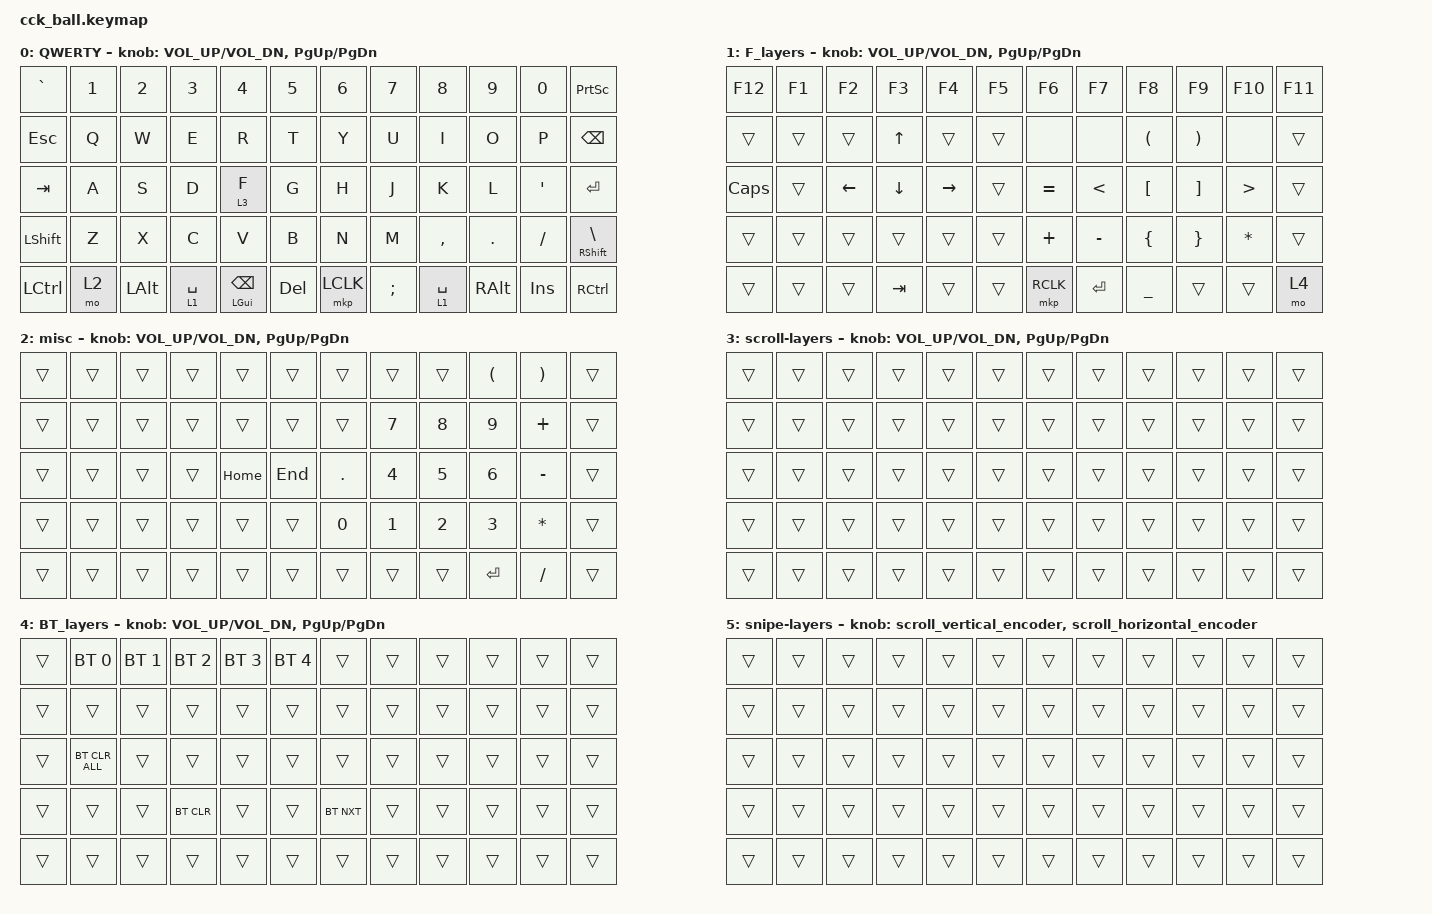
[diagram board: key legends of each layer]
#define ZMK_POINTING_DEFAULT_MOVE_VAL 1000 // 600
#define ZMK_POINTING_DEFAULT_SCRL_VAL 12   // 10

#include <input/processors.dtsi>
#include <zephyr/dt-bindings/input/input-event-codes.h>
#include <behaviors.dtsi>
#include <dt-bindings/zmk/bt.h>
#include <dt-bindings/zmk/keys.h>
#include <dt-bindings/zmk/pointing.h>

&mmv_input_listener { input-processors = <&zip_xy_scaler 2 1>; };

&msc_input_listener { input-processors = <&zip_scroll_scaler 2 1>; };

&msc {
    acceleration-exponent = <0>;      // 0
    time-to-max-speed-ms = <300>;       // 300
    delay-ms = <0>;                   // 0
};

&mmv {
    time-to-max-speed-ms = <500>;
    acceleration-exponent = <1>;
    trigger-period-ms = <16>;
};

&soft_off { hold-time-ms = <2000>; };

&lt { quick-tap-ms = <250>; };

&mt { quick-tap-ms = <250>; };

/ {
    // 上下滚动编码器行为

    scroll_vertical_encoder: scroll_vertical_encoder {
        compatible = "zmk,behavior-sensor-rotate";
        #sensor-binding-cells = <0>;
        bindings = <&msc SCRL_DOWN>, <&msc SCRL_UP>;

        tap-ms = <100>;
    };

    // 左右滚动编码器行为

    scroll_horizontal_encoder: scroll_horizontal_encoder {
        compatible = "zmk,behavior-sensor-rotate";
        #sensor-binding-cells = <0>;
        bindings = <&msc SCRL_LEFT>, <&msc SCRL_RIGHT>;

        tap-ms = <100>;
    };

    behaviors {
    };

    keymap {
        compatible = "zmk,keymap";

        QWERTY {
            bindings = <
&kp GRAVE         &kp N1  &kp N2    &kp N3       &kp N4                  &kp N5      &kp N6     &kp N7    &kp N8       &kp N9    &kp N0     &kp PRINTSCREEN
&kp ESCAPE        &kp Q   &kp W     &kp E        &kp R                   &kp T       &kp Y      &kp U     &kp I        &kp O     &kp P      &kp BACKSPACE
&kp TAB           &kp A   &kp S     &kp D        &lt 3 F                 &kp G       &kp H      &kp J     &kp K        &kp L     &kp APOS   &kp ENTER
&kp LEFT_SHIFT    &kp Z   &kp X     &kp C        &kp V                   &kp B       &kp N      &kp M     &kp COMMA    &kp DOT   &kp SLASH  &mt RIGHT_SHIFT BACKSLASH
&kp LEFT_CONTROL  &mo 2   &kp LALT  &lt 1 SPACE  &mt LEFT_GUI BACKSPACE  &kp DELETE  &mkp LCLK  &kp SEMI  &lt 1 SPACE  &kp RALT  &kp INS    &kp RCTRL
            >;

            sensor-bindings = <&inc_dec_kp C_VOL_UP C_VOL_DN &inc_dec_kp PG_UP PG_DN>;
        };

        F_layers {
            bindings = <
&kp F12   &kp F1  &kp F2          &kp F3        &kp F4     &kp F5  &kp F6     &kp F7         &kp F8                &kp F9                 &kp F10           &kp F11
&trans    &trans  &trans          &kp UP_ARROW  &trans     &trans  &none      &none          &kp LEFT_PARENTHESIS  &kp RIGHT_PARENTHESIS  &none             &trans
&kp CAPS  &trans  &kp LEFT_ARROW  &kp DOWN      &kp RIGHT  &trans  &kp EQUAL  &kp LESS_THAN  &kp LEFT_BRACKET      &kp RIGHT_BRACKET      &kp GREATER_THAN  &trans
&trans    &trans  &trans          &trans        &trans     &trans  &kp PLUS   &kp MINUS      &kp LEFT_BRACE        &kp RIGHT_BRACE        &kp ASTERISK      &trans
&trans    &trans  &trans          &kp TAB       &trans     &trans  &mkp RCLK  &kp ENTER      &kp UNDER             &trans                 &trans            &mo 4
            >;

            sensor-bindings = <&inc_dec_kp C_VOL_UP C_VOL_DN &inc_dec_kp PG_UP PG_DN>;
        };

        misc {
            bindings = <
&trans  &trans  &trans  &trans  &trans    &trans   &trans   &trans  &trans  &kp LPAR   &kp RPAR      &trans
&trans  &trans  &trans  &trans  &trans    &trans   &trans   &kp N7  &kp N8  &kp N9     &kp PLUS      &trans
&trans  &trans  &trans  &trans  &kp HOME  &kp END  &kp DOT  &kp N4  &kp N5  &kp N6     &kp MINUS     &trans
&trans  &trans  &trans  &trans  &trans    &trans   &kp N0   &kp N1  &kp N2  &kp N3     &kp ASTERISK  &trans
&trans  &trans  &trans  &trans  &trans    &trans   &trans   &trans  &trans  &kp ENTER  &kp SLASH     &trans
            >;

            sensor-bindings =
                <&inc_dec_kp C_VOL_UP C_VOL_DN>,
                <&inc_dec_kp PAGE_UP PAGE_DOWN>;
        };

        scroll-layers {
            bindings = <
&trans  &trans  &trans  &trans  &trans  &trans  &trans  &trans  &trans  &trans  &trans  &trans
&trans  &trans  &trans  &trans  &trans  &trans  &trans  &trans  &trans  &trans  &trans  &trans
&trans  &trans  &trans  &trans  &trans  &trans  &trans  &trans  &trans  &trans  &trans  &trans
&trans  &trans  &trans  &trans  &trans  &trans  &trans  &trans  &trans  &trans  &trans  &trans
&trans  &trans  &trans  &trans  &trans  &trans  &trans  &trans  &trans  &trans  &trans  &trans
            >;

            sensor-bindings = <&inc_dec_kp C_VOL_UP C_VOL_DN &inc_dec_kp PG_UP PG_DN>;
        };

        BT_layers {
            bindings = <
&trans  &bt BT_SEL 0    &bt BT_SEL 1  &bt BT_SEL 2  &bt BT_SEL 3  &bt BT_SEL 4  &trans      &trans  &trans  &trans  &trans  &trans
&trans  &trans          &trans        &trans        &trans        &trans        &trans      &trans  &trans  &trans  &trans  &trans
&trans  &bt BT_CLR_ALL  &trans        &trans        &trans        &trans        &trans      &trans  &trans  &trans  &trans  &trans
&trans  &trans          &trans        &bt BT_CLR    &trans        &trans        &bt BT_NXT  &trans  &trans  &trans  &trans  &trans
&trans  &trans          &trans        &trans        &trans        &trans        &trans      &trans  &trans  &trans  &trans  &trans
            >;

            sensor-bindings = <&inc_dec_kp C_VOL_UP C_VOL_DN &inc_dec_kp PG_UP PG_DN>;
        };

        snipe-layers {
            bindings = <
&trans  &trans  &trans  &trans  &trans  &trans  &trans  &trans  &trans  &trans  &trans  &trans
&trans  &trans  &trans  &trans  &trans  &trans  &trans  &trans  &trans  &trans  &trans  &trans
&trans  &trans  &trans  &trans  &trans  &trans  &trans  &trans  &trans  &trans  &trans  &trans
&trans  &trans  &trans  &trans  &trans  &trans  &trans  &trans  &trans  &trans  &trans  &trans
&trans  &trans  &trans  &trans  &trans  &trans  &trans  &trans  &trans  &trans  &trans  &trans
            >;

            sensor-bindings =
                <&scroll_vertical_encoder>,
                // 编码器1：上下滚动,,,,,,,,,,,,,,,,,,,,,,,,,,,,,,,,,,,,,
                <&scroll_horizontal_encoder>;

            // 编码器2：左右滚动
        };
    };
};
